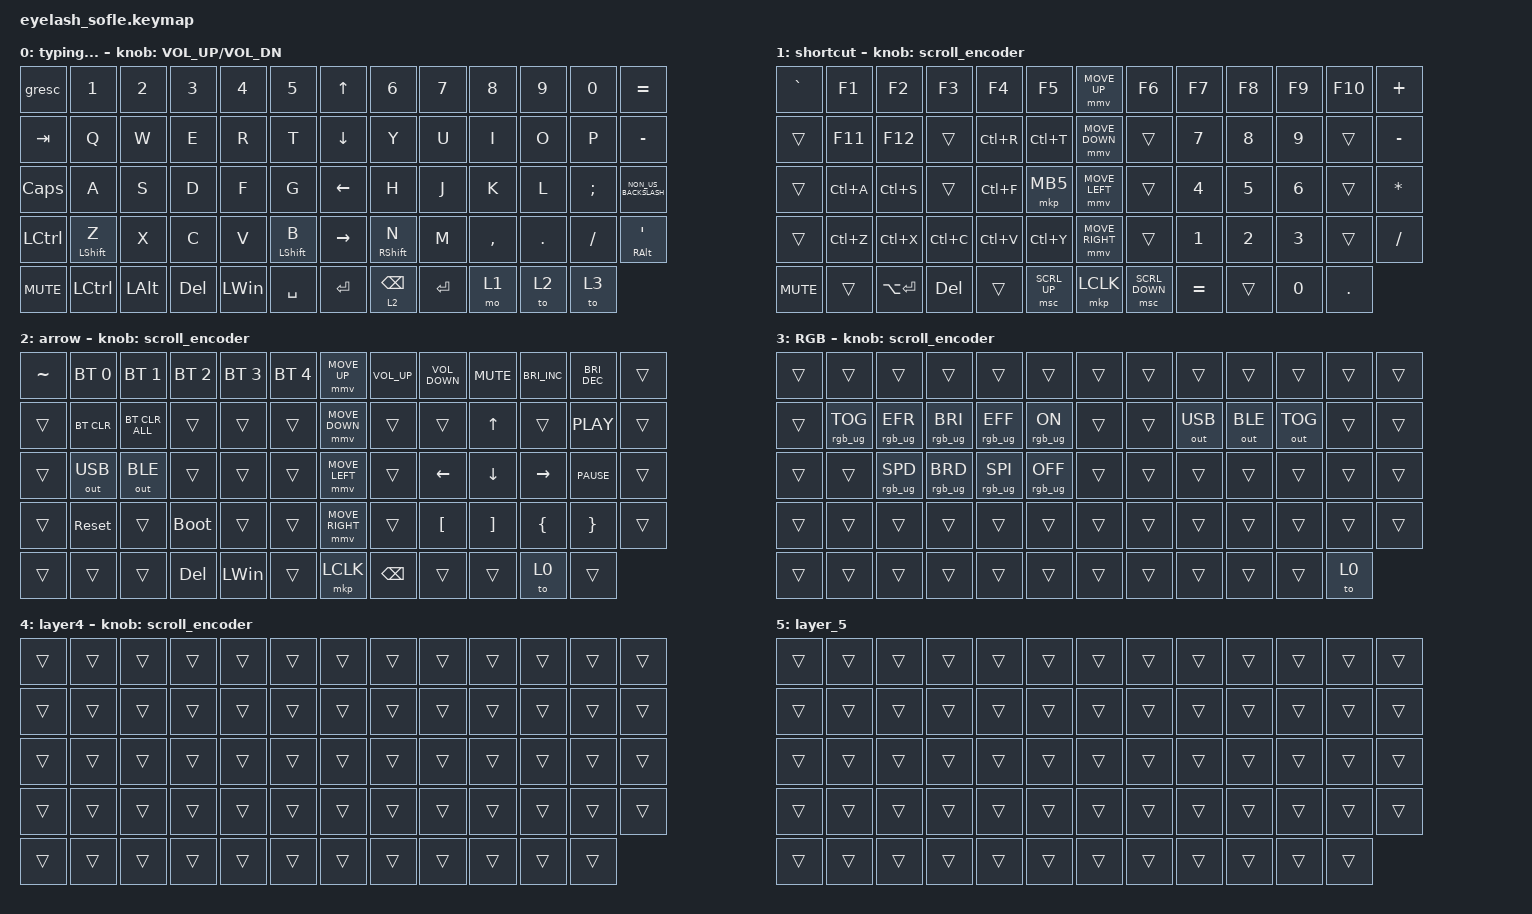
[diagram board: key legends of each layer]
#define ZMK_POINTING_DEFAULT_MOVE_VAL 1200  // 600
#define ZMK_POINTING_DEFAULT_SCRL_VAL 25   // 10

#include <input/processors.dtsi>
#include <zephyr/dt-bindings/input/input-event-codes.h>
#include <behaviors.dtsi>
#include <dt-bindings/zmk/bt.h>
#include <dt-bindings/zmk/keys.h>
#include <dt-bindings/zmk/outputs.h>
#include <dt-bindings/zmk/pointing.h>
#include <dt-bindings/zmk/rgb.h>

&mmv_input_listener { input-processors = <&zip_xy_scaler 2 1>; };

&msc_input_listener { input-processors = <&zip_scroll_scaler 2 1>; };

&msc {
    acceleration-exponent = <1>;      // 0
    time-to-max-speed-ms = <100>;       // 300
    delay-ms = <0>;                   // 0
};

&mmv {
    time-to-max-speed-ms = <500>;
    acceleration-exponent = <1>;
    trigger-period-ms = <16>;
};

&soft_off { hold-time-ms = <2000>; };

/ {
    // 1. 先定義 behaviors 區塊

    behaviors {
        // 將 scroll_encoder 移到這裡

        scroll_encoder: scroll_encoder {
            compatible = "zmk,behavior-sensor-rotate";
            #sensor-binding-cells = <0>;
            bindings = <&msc SCRL_DOWN>, <&msc SCRL_UP>;

            tap-ms = <100>;
        };

        // 刪除鍵：長按換層，短按刪除，放開時若無動作則補送 Backspace (觸發輸入法切換)

        forbackspace: forbackspace {
            compatible = "zmk,behavior-hold-tap";
            label = "FORBACKSPACE";
            bindings = <&mo>, <&kp>;

            #binding-cells = <2>;
            tapping-term-ms = <300>;
            quick-tap-ms = <250>;
            flavor = "tap-preferred"; // 優先判定為 Tap
        };

        // B 鍵與 N 鍵：長按 Shift，短按字母，放開時補送 Shift (觸發中英切換)

        shiftandtyping: shiftandtyping {
            compatible = "zmk,behavior-hold-tap";
            label = "SHIFTANDTYPING";
            bindings = <&kp>, <&kp>;

            #binding-cells = <2>;
            tapping-term-ms = <170>;   // Shift 建議稍微短一點，比較靈敏
            quick-tap-ms = <0>;
            flavor = "tap-preferred";  // 優先判定為 Tap，適合中英切換需求
        };
    };

    combos {
        compatible = "zmk,combos";

        softoff {
            bindings = <&soft_off>;
            key-positions = <14 28 40>;
        };
    };

    macros {
        SHIFT_MCLK: SHIFT_MCLK {
            compatible = "zmk,behavior-macro";
            #binding-cells = <0>;
            bindings =
                <&macro_press>,
                <&kp LEFT_SHIFT>,
                <&macro_press>,
                <&mkp MB3>,
                <&macro_pause_for_release>,
                <&macro_release>,
                <&kp LEFT_SHIFT &mkp MB3>;

            label = "SHIFT_MCLK";
        };
    };

    keymap {
        compatible = "zmk,keymap";

        layer0 {
            bindings = <
&gresc      &kp N1                        &kp N2        &kp N3   &kp N4        &kp N5                          &kp UP_ARROW     &kp N6                         &kp N7     &kp N8     &kp N9   &kp N0    &kp EQUAL
&kp TAB     &kp Q                         &kp W         &kp E    &kp R         &kp T                           &kp DOWN_ARROW   &kp Y                          &kp U      &kp I      &kp O    &kp P     &kp MINUS
&kp CAPS    &kp A                         &kp S         &kp D    &kp F         &kp G                           &kp LEFT_ARROW   &kp H                          &kp J      &kp K      &kp L    &kp SEMI  &kp NON_US_BACKSLASH
&kp LCTRL   &shiftandtyping LEFT_SHIFT Z  &kp X         &kp C    &kp V         &shiftandtyping LEFT_SHIFT B    &kp RIGHT_ARROW  &shiftandtyping RIGHT_SHIFT N  &kp M      &kp COMMA  &kp DOT  &kp FSLH  &shiftandtyping RIGHT_ALT SQT
&kp C_MUTE  &kp LCTRL                     &kp LEFT_ALT  &kp DEL  &kp LEFT_WIN  &kp SPACE                       &kp ENTER        &forbackspace 2 BACKSPACE      &kp ENTER  &mo 1      &to 2    &to 3
            >;

            sensor-bindings = <&inc_dec_kp C_VOLUME_UP C_VOL_DN>;
            display-name = "typing...";
        };

        layer1 {
            bindings = <
&kp GRAVE   &kp F1     &kp F2         &kp F3     &kp F4     &kp F5          &mmv MOVE_UP     &kp F6          &kp F7        &kp F8        &kp F9        &kp F10     &kp PLUS
&trans      &kp F11    &kp F12        &trans     &kp LC(R)  &kp LC(T)       &mmv MOVE_DOWN   &trans          &kp N7        &kp N8        &kp N9        &trans      &kp MINUS
&trans      &kp LC(A)  &kp LC(S)      &trans     &kp LC(F)  &mkp MB5        &mmv MOVE_LEFT   &trans          &kp NUMBER_4  &kp N5        &kp NUMBER_6  &trans      &kp ASTRK
&trans      &kp LC(Z)  &kp LC(X)      &kp LC(C)  &kp LC(V)  &kp LC(Y)       &mmv MOVE_RIGHT  &trans          &kp NUMBER_1  &kp NUMBER_2  &kp NUMBER_3  &trans      &kp SLASH
&kp C_MUTE  &trans     &kp LA(ENTER)  &kp DEL    &trans     &msc SCRL_UP    &mkp LCLK        &msc SCRL_DOWN  &kp EQUAL     &trans        &kp N0        &kp PERIOD
            >;

            display-name = "shortcut";
            sensor-bindings = <&scroll_encoder>;
        };

        layer2 {
            bindings = <
&kp TILDE  &bt BT_SEL 0  &bt BT_SEL 1    &bt BT_SEL 2  &bt BT_SEL 3  &bt BT_SEL 4    &mmv MOVE_UP     &kp C_VOLUME_UP  &kp C_VOLUME_DOWN  &kp C_MUTE         &kp C_BRIGHTNESS_INC  &kp C_BRIGHTNESS_DEC  &trans
&trans     &bt BT_CLR    &bt BT_CLR_ALL  &trans        &trans        &trans          &mmv MOVE_DOWN   &trans           &trans             &kp UP_ARROW       &trans                &kp C_PLAY            &trans
&trans     &out OUT_USB  &out OUT_BLE    &trans        &trans        &trans          &mmv MOVE_LEFT   &trans           &kp LEFT_ARROW     &kp DOWN           &kp RIGHT             &kp C_PAUSE           &trans
&trans     &sys_reset    &trans          &bootloader   &trans        &trans          &mmv MOVE_RIGHT  &trans           &kp LEFT_BRACKET   &kp RIGHT_BRACKET  &kp LEFT_BRACE        &kp RIGHT_BRACE       &trans
&trans     &trans        &trans          &kp DEL       &kp LEFT_WIN  &trans          &mkp LCLK        &kp BACKSPACE    &trans             &trans             &to 0                 &trans
            >;

            display-name = "arrow";
            sensor-bindings = <&scroll_encoder>;
        };

        layer3 {
            bindings = <
&trans  &trans           &trans           &trans           &trans           &trans             &trans  &trans  &trans        &trans        &trans        &trans  &trans
&trans  &rgb_ug RGB_TOG  &rgb_ug RGB_EFR  &rgb_ug RGB_BRI  &rgb_ug RGB_EFF  &rgb_ug RGB_ON     &trans  &trans  &out OUT_USB  &out OUT_BLE  &out OUT_TOG  &trans  &trans
&trans  &trans           &rgb_ug RGB_SPD  &rgb_ug RGB_BRD  &rgb_ug RGB_SPI  &rgb_ug RGB_OFF    &trans  &trans  &trans        &trans        &trans        &trans  &trans
&trans  &trans           &trans           &trans           &trans           &trans             &trans  &trans  &trans        &trans        &trans        &trans  &trans
&trans  &trans           &trans           &trans           &trans           &trans             &trans  &trans  &trans        &trans        &trans        &to 0
            >;

            display-name = "RGB";
            sensor-bindings = <&scroll_encoder>;
        };

        layer_4 {
            bindings = <
&trans  &trans  &trans  &trans  &trans  &trans    &trans  &trans  &trans  &trans  &trans  &trans  &trans
&trans  &trans  &trans  &trans  &trans  &trans    &trans  &trans  &trans  &trans  &trans  &trans  &trans
&trans  &trans  &trans  &trans  &trans  &trans    &trans  &trans  &trans  &trans  &trans  &trans  &trans
&trans  &trans  &trans  &trans  &trans  &trans    &trans  &trans  &trans  &trans  &trans  &trans  &trans
&trans  &trans  &trans  &trans  &trans  &trans    &trans  &trans  &trans  &trans  &trans  &trans
            >;

            display-name = "layer4";
            sensor-bindings = <&scroll_encoder>;
        };

        layer_5 {
            bindings = <
&trans  &trans  &trans  &trans  &trans  &trans    &trans  &trans  &trans  &trans  &trans  &trans  &trans
&trans  &trans  &trans  &trans  &trans  &trans    &trans  &trans  &trans  &trans  &trans  &trans  &trans
&trans  &trans  &trans  &trans  &trans  &trans    &trans  &trans  &trans  &trans  &trans  &trans  &trans
&trans  &trans  &trans  &trans  &trans  &trans    &trans  &trans  &trans  &trans  &trans  &trans  &trans
&trans  &trans  &trans  &trans  &trans  &trans    &trans  &trans  &trans  &trans  &trans  &trans
            >;
        };
    };
};
